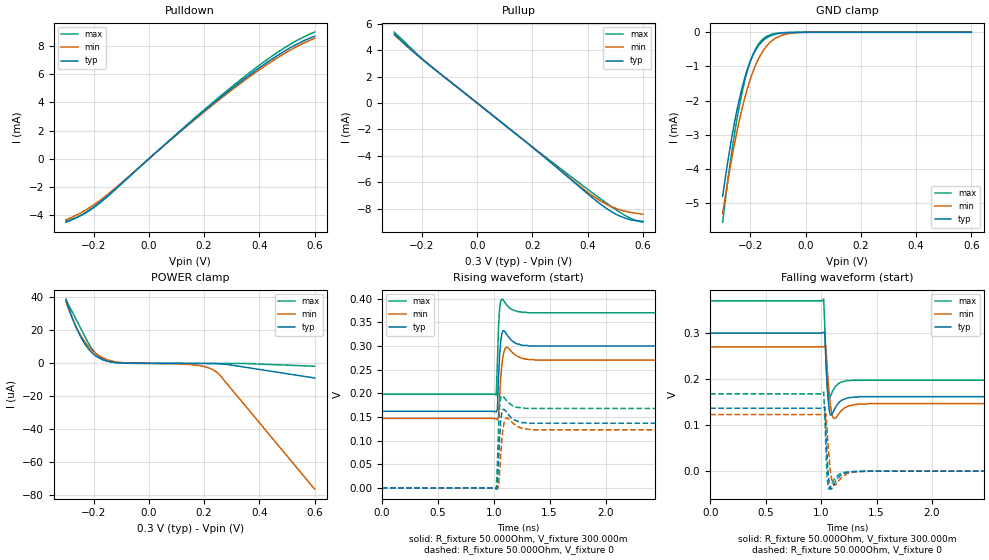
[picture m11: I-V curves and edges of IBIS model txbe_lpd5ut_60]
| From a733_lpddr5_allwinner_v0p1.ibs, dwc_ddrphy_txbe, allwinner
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[Model] txbe_lpd5ut_60
Model_type   I/O
Polarity   Non-Inverting
Enable   Active-High
C_comp   1.465pF   1.447pF   1.47pF
C_comp_pullup   292.671fF   276.014fF   308.304fF
C_comp_pulldown   1.11pF   1.062pF   1.125pF
Vinh = 310.000mV
Vinl = 190.000mV
Vmeas = 250.000mV
Vref = 250.000mV
Rref = 50Ohms
Cref = 0pF
[Model Spec]
Vinh   310.000mV   295.000mV   345.000mV
Vinl   190.000mV   175.000mV   225.000mV
Vmeas   250.000mV   235.000mV   285.000mV
Vref   250.000mV   235.000mV   285.000mV
D_overshoot_ampl_h 0.1 NA   NA
D_overshoot_ampl_l 0.1 NA   NA
D_overshoot_area_l 300.000m NA   NA
D_overshoot_area_h 300.000m NA   NA
[Receiver Thresholds]
Vth = 125.000mV
Vth_min = 118.000mV
Vth_max = 143.000mV
Vinh_ac = 60.000mV
Vinh_dc = 60.000mV
Vinl_ac = -60.000mV
Vinl_dc = -60.000mV
Tslew_ac = 5.000ns
Threshold_sensitivity = 0.5
Reference_supply Pullup_ref
[Temperature Range]   25.000   125.000   -40.000
[Voltage Range]   300.000mV   270.000mV   370.000mV
[GND Clamp Reference]   0.00V   0.00V   0.00V
[C Comp Corner]
| variable   typ   min   max
C_comp   1.465pF   1.447pF   1.47pF
C_comp_pullup   292.671fF   276.014fF   308.304fF
C_comp_pulldown   1.11pF   1.062pF   1.125pF
[Pulldown Reference]   0.00V   0.00V   0.00V
[POWER Clamp Reference]   300.000mV   270.000mV   370.000mV
[Pullup Reference]   300.000mV   270.000mV   370.000mV
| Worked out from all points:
|   slope of the pulldown table from 0 to 0.045 V, typ, clamps not added: 57.7 ohm
|   slope of the pullup table from 0 to 0.045 V, typ, clamps not added: 59.9 ohm
|   GND clamp passes 1 mA (typ) near -0.21 V on its own axis
|   rising waveform, R_fixture 50.000Ohm, V_fixture 300.000m: 20-80 % time 14.8ps typ, 19.9ps min, 14.1ps max; typ from 0.162 V to 0.3 V
|   rising waveform, R_fixture 50.000Ohm, V_fixture 0: 20-80 % time 16.3ps typ, 21.3ps min, 15ps max; typ from 0 V to 0.137 V
|   falling waveform, R_fixture 50.000Ohm, V_fixture 300.000m: 20-80 % time 16.9ps typ, 22.5ps min, 16.1ps max; typ from 0.3 V to 0.162 V
|   falling waveform, R_fixture 50.000Ohm, V_fixture 0: 20-80 % time 16.7ps typ, 21.9ps min, 14.4ps max; typ from 0.137 V to 0 V
[GND Clamp]
-300mV    -4.812mA   -5.313mA   -5.568mA
-280mV    -3.723mA   -4.303mA   -4.27mA
-260mV    -2.773mA   -3.397mA   -3.135mA
-250mV    -2.355mA   -2.986mA   -2.634mA
-230mV    -1.636mA   -2.253mA   -1.776mA
-210mV    -1.074mA   -1.641mA   -1.114mA
-190mV    -665.6uA   -1.15mA    -643.3uA
-170mV    -388.7uA   -773.4uA   -340.8uA
-150mV    -215.3uA   -499.1uA   -167.1uA
-100mV    -40.84uA   -138.2uA   -22.34uA
-40mV     -3.47uA    -16.77uA   -1.319uA
600mV     803.1nA    6.382uA    219.4nA
[Power Clamp]
-300mV    39.01uA    37.38uA    38.53uA
-270mV    24.51uA    24.61uA    28.81uA
-230mV    11.35uA    12.74uA    15.86uA
-210mV    7.144uA    8.699uA    9.855uA
-190mV    4.241uA    5.727uA    5.658uA
-140mV    907.9nA    1.683uA    968.8nA
-80mV     102.5nA    262.4nA    71.28nA
160mV     -68.85nA   -928.4nA   -17.64nA
210mV     -125.3nA   -2.412uA   -22.8nA
240mV     -217.7nA   -4.727uA   -26.46nA
260mV     -349.4nA   -7.648uA   -29.76nA
600mV     -8.9uA     -76.37uA   -1.755uA
[Pulldown]
-300mV    -4.478mA   -4.304mA   -4.403mA
-260mV    -4.14mA    -3.955mA   -4.126mA
-230mV    -3.81mA    -3.634mA   -3.834mA
-170mV    -2.954mA   -2.835mA   -3.007mA
-110mV    -1.933mA   -1.877mA   -1.97mA
130mV     2.227mA    2.18mA     2.273mA
240mV     4.027mA    3.943mA    4.122mA
350mV     5.718mA    5.595mA    5.871mA
420mV     6.711mA    6.562mA    6.905mA
490mV     7.603mA    7.438mA    7.836mA
550mV     8.245mA    8.08mA     8.509mA
600mV     8.669mA    8.515mA    8.957mA
[Pullup]
-300mV    5.237mA    5.169mA    5.377mA
-240mV    4.048mA    4.058mA    4.167mA
-160mV    2.644mA    2.667mA    2.666mA
190mV     -3.185mA   -3.174mA   -3.166mA
360mV     -6.174mA   -6.107mA   -5.905mA
410mV     -7.055mA   -6.913mA   -6.694mA
460mV     -7.872mA   -7.582mA   -7.466mA
510mV     -8.509mA   -8.048mA   -8.196mA
560mV     -8.869mA   -8.307mA   -8.782mA
600mV     -8.959mA   -8.427mA   -9.032mA
[Ramp]
R_load=50.000Ohm
dV/dt_r   82.491mV/15.500ps  73.722mV/20.500ps  101.998mV/13.500ps
dV/dt_f   82.491mV/17.000ps  73.722mV/22.000ps  101.998mV/15.000ps
[Rising waveform]
R_fixture=50.000Ohm
V_fixture=300.000m
V_fixture_min=270.000m
V_fixture_max=370.000m
0s        162mV      147mV      198mV
1.023ns   160mV      146mV      196mV
1.033ns   167mV      144mV      264mV
1.043ns   232mV      152mV      340mV
1.053ns   281mV      194mV      379mV
1.073ns   326mV      260mV      399mV
1.113ns   326mV      297mV      387mV
1.193ns   306mV      281mV      374mV
1.373ns   300mV      270mV      370mV
10ns      300mV      270mV      370mV
[Rising waveform]
R_fixture=50.000Ohm
V_fixture=0
0s        29.67uV    261.4uV    6.774uV
1.023ns   -2.301mV   -512.2uV   -2.42mV
1.033ns   3.164mV    -2.126mV   51.08mV
1.043ns   55.27mV    2.63mV     126mV
1.053ns   106mV      31.98mV    174mV
1.073ns   160mV      102mV      195mV
1.093ns   166mV      138mV      191mV
1.113ns   161mV      148mV      185mV
1.353ns   137mV      123mV      168mV
10ns      137mV      123mV      168mV
[Falling waveform]
R_fixture=50.000Ohm
V_fixture=300.000m
V_fixture_min=270.000m
V_fixture_max=370.000m
0s        300mV      270mV      370mV
1.023ns   302mV      270mV      374mV
1.033ns   302mV      272mV      314mV
1.043ns   239mV      272mV      247mV
1.053ns   196mV      231mV      188mV
1.073ns   132mV      169mV      159mV
1.113ns   131mV      115mV      178mV
1.183ns   154mV      132mV      194mV
1.423ns   162mV      147mV      198mV
10ns      162mV      147mV      198mV
[Falling waveform]
R_fixture=50.000Ohm
V_fixture=0
0s        137mV      123mV      168mV
1.023ns   138mV      123mV      172mV
1.033ns   140mV      125mV      126mV
1.053ns   37.97mV    95.79mV    -10.15mV
1.073ns   -28.19mV   27.27mV    -38.93mV
1.093ns   -38.75mV   -14.9mV    -29.6mV
1.123ns   -25.33mV   -30.26mV   -16.09mV
1.243ns   -2.507mV   -4.717mV   -1.387mV
1.474ns   35.27uV    202.9uV    18.84uV
10ns      30.95uV    261.4uV    8.083uV
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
